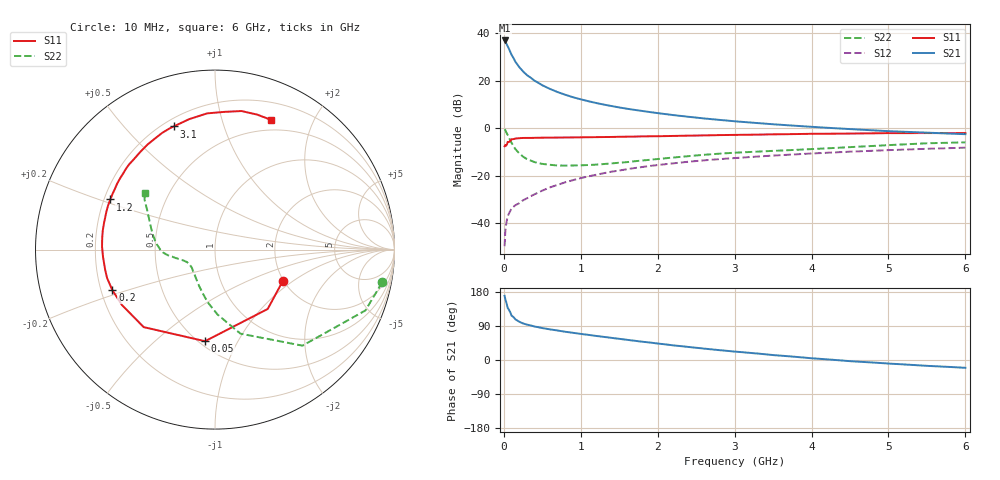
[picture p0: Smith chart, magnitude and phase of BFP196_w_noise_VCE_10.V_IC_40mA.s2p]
! Infineon Technologies  Discrete & RF Semiconductors
! BFP196
! VCE =  10. V,  IC =  40 mA
! Common Emitter S-Parameters:  Jan 2017
# GHz  S  MA  R  50
!  f  S11  S21  S12  S22
! GHz  MAG  ANG  MAG  ANG  MAG  ANG  MAG  ANG
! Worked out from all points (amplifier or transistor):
!   77 points, 10 MHz to 6 GHz, reference 50 ohm
!   highest |S21| = 36.9 dB at 10 MHz (marker M1)
!   |S21| within 3 dB of that: start of sweep to 58.89 MHz
!   unconditionally stable (mu >= 1): 636.4 MHz to 2.375 GHz
!   at 130 MHz: K = 0.53, MSG = 31.1 dB, |S12| = -33.0 dB
!   at 2.2 GHz: K = 1.01, MAG = 9.4 dB, |S12| = -14.8 dB
!   at 6 GHz: K = 0.93, MSG = 2.8 dB, |S12| = -8.2 dB
!   lowest NFmin = 1.34 dB at 450 MHz
!   S11 on the Smith chart (normalised r, x): 10 MHz: 1.97, -0.84; 50 MHz: 0.54, -0.74; 200 MHz: 0.25, -0.18; 1.2 GHz: 0.23, +0.22; 3.1 GHz: 0.24, +0.69; 6 GHz: 0.38, +1.45
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0.01  0.4163 -25.2  69.7 169.2  0.0033 79.8  0.949 -11.1
0.02  0.4423 -48.4  67.42 159.8  0.0072 72.9  0.9042 -22.0
0.05  0.5134 -96.2  52.9 137.3  0.014 57.7  0.7236 -47.7
0.1  0.5868 -132.6  34.85 117.2  0.0203 52.1  0.4896 -73.1
0.15  0.6035 -149.3  24.9 107.3  0.024 50.6  0.3625 -87.7
0.2  0.6148 -158.4  19.22 101.0  0.0264 53.5  0.2952 -98.1
0.25  0.6217 -165.2  15.56 96.5  0.0304 54.9  0.2518 -105.9
0.3  0.6223 -169.6  13.05 93.4  0.0335 56.3  0.2238 -112.8
0.4  0.6253 -176.4  9.921 88.3  0.0407 60.6  0.193 -123.0
0.5  0.6297 178.4  7.963 84.3  0.0486 62.2  0.1772 -130.7
0.6  0.6318 174.1  6.671 80.8  0.0568 62.9  0.1695 -137.0
0.7  0.6341 170.5  5.722 77.8  0.0642 64.2  0.1638 -141.8
0.9  0.6377 163.5  4.461 71.7  0.0808 63.4  0.1641 -148.6
1.1  0.6446 157.4  3.678 66.3  0.0968 62.7  0.1678 -153.7
1.2  0.6466 154.4  3.376 63.5  0.1047 61.8  0.1709 -155.9
1.6  0.6612 143.1  2.561 53.3  0.1369 58.1  0.1929 -162.6
2.1  0.6799 129.9  1.974 41.2  0.1746 52.1  0.2324 -169.2
2.6  0.7031 118.5  1.6 30.1  0.2102 45.8  0.2751 -174.7
3.1  0.7237 108.5  1.354 20.6  0.2406 39.5  0.3097 178.7
4.1  0.7611 91.8  1.042 3.2  0.2981 27.8  0.3691 163.0
5.1  0.7856 77.9  0.851 -10.5  0.349 16.3  0.4472 148.5
6  0.7872 66.8  0.746 -20.6  0.3887 6.2  0.5028 140.8
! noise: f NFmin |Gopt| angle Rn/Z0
0.45  1.34  0.36  177  0.05
0.9  1.49  0.46  -167  0.07
1.9  2.31  0.68  -133  0.28
2.4  2.71  0.7  -120  0.62
